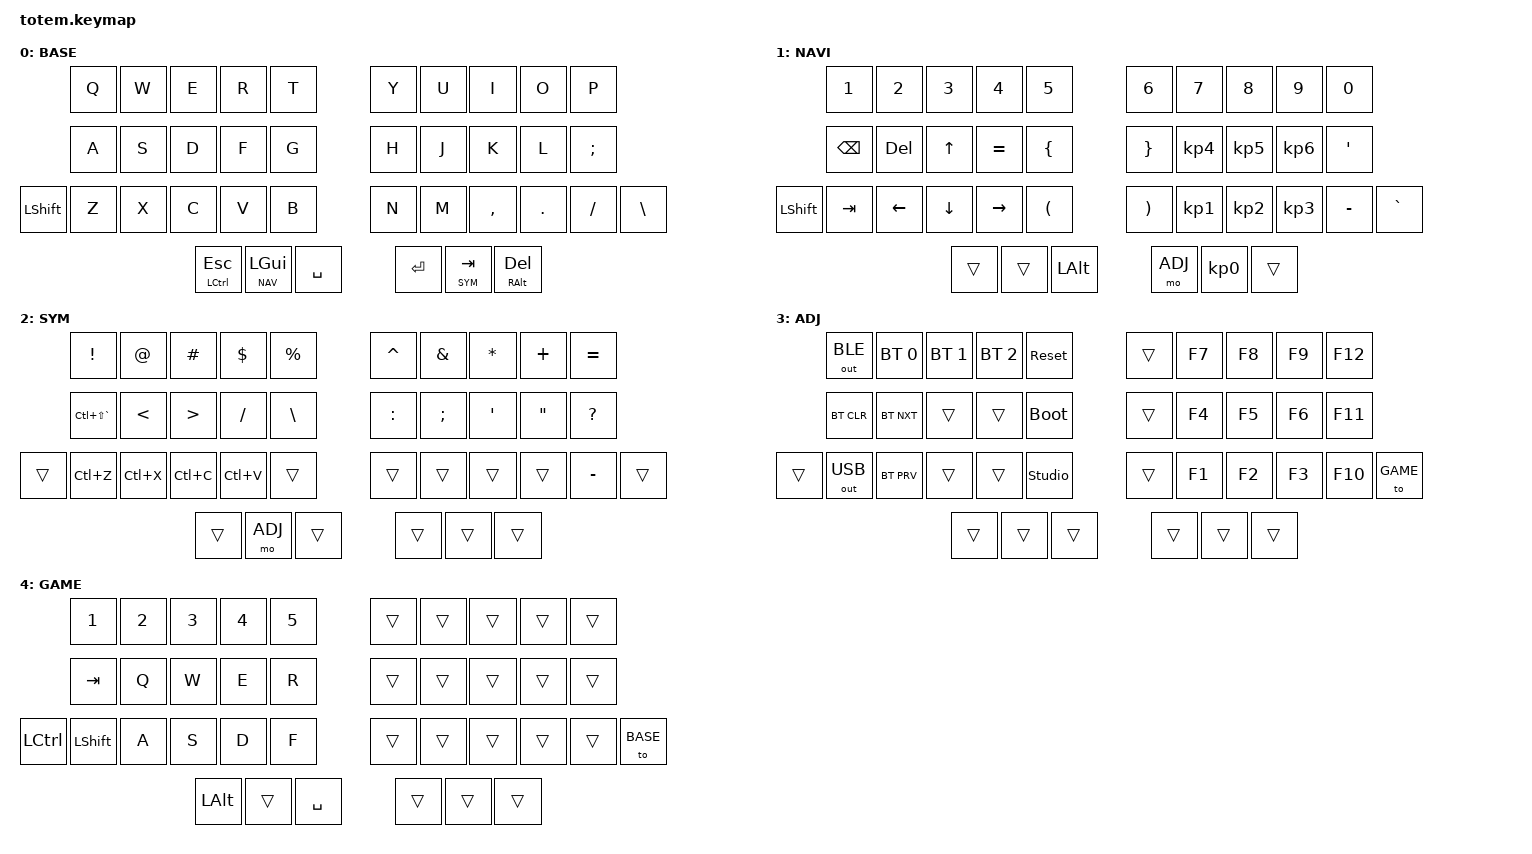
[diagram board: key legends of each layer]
//
//                                                        ▀▀▀▀▀     ▀▀▀▀▀          ▀▀█▀▀
//                                                        ▄▀▀▀▄  ▄  ▄▀▀▀▄  ▄  ▄▀▀▀▄  █  ▄▀▀▀▄
//                                                        █   █  █  █   █  █  █   █  █  █   █
//                                                         ▀▀▀   █   ▀▀▀   █   ▀▀▀   ▀   ▀▀▀
//                                                               █      ▄▄▄█▄▄▄    █   █  
//                                                               ▀      █  █  █     █▄█
//                                                             ▀▀▀▀▀    █  █  █      ▀
//                                                                      ▀  ▀  ▀
//
// ▄▄▄▄▄▄▄▄▄▄▄▄▄▄▄▄▄▄▄▄▄▄▄▄▄▄▄▄▄▄▄▄▄▄▄▄▄▄▄▄▄▄▄▄▄▄▄▄▄▄▄▄▄▄▄▄▄▄▄▄▄▄▄▄▄▄▄▄▄▄▄▄▄▄▄▄▄▄▄▄▄▄▄▄▄▄▄▄▄▄▄▄▄▄▄▄▄▄▄▄▄▄▄▄▄▄▄▄▄▄▄▄▄▄▄▄▄▄▄▄▄▄▄▄▄▄▄▄▄▄▄▄▄▄▄▄▄▄▄▄▄▄▄▄▄▄▄▄▄
       

#include <behaviors.dtsi>
#include <dt-bindings/zmk/keys.h>
#include <dt-bindings/zmk/bt.h>
#include <dt-bindings/zmk/outputs.h>

#define BASE 0
#define NAV  1
#define SYM  2
#define ADJ  3
#define GAME 4

&mt {
  quick-tap-ms = <125>;
  global-quick-tap;
  flavor = "balanced";
  tapping-term-ms = <200>;
};

/ {
     combos {
            compatible = "zmk,combos";

            // Essential escape combos
            combo_esc {
                timeout-ms = <40>;
                key-positions = <0 1>;
                bindings = <&kp ESC>;
            };

            // Programming brackets - easier vertical combos
            combo_lbkt {
                timeout-ms = <40>;
                key-positions = <3 13>;  // R + C
                bindings = <&kp LBKT>;
            };
            combo_rbkt {
                timeout-ms = <40>;
                key-positions = <6 16>;  // U + M
                bindings = <&kp RBKT>;
            };
            combo_lbrc {
                timeout-ms = <40>;
                key-positions = <4 14>;  // T + V
                bindings = <&kp LBRC>;
            };
            combo_rbrc {
                timeout-ms = <40>;
                key-positions = <5 15>;  // Y + N
                bindings = <&kp RBRC>;
            };
            combo_lpar {
                timeout-ms = <40>;
                key-positions = <2 12>;  // E + X
                bindings = <&kp LPAR>;
            };
            combo_rpar {
                timeout-ms = <40>;
                key-positions = <7 17>;  // I + COMMA
                bindings = <&kp RPAR>;
            };

            // Common programming symbols
            combo_grave {
                timeout-ms = <40>;
                key-positions = <0 10>;  // Q + A
                bindings = <&kp GRAVE>;
            };
            combo_tilde {
                timeout-ms = <40>;
                key-positions = <9 19>;  // P + ;
                bindings = <&kp TILDE>;
            };
            combo_pipe {
                timeout-ms = <40>;
                key-positions = <14 15>;  // V + B
                bindings = <&kp PIPE>;
            };
            combo_under {
                timeout-ms = <40>;
                key-positions = <13 14>;  // C + V
                bindings = <&kp UNDER>;
            };

            // Quick tab for coding
            combo_tab {
                timeout-ms = <40>;
                key-positions = <10 11>;  // A + S
                bindings = <&kp TAB>;
            };

            // Navigation combos - useful for system navigation
            combo_printscreen {
                timeout-ms = <40>;
                key-positions = <18 19>;  // L + ; (replacing CAPS)
                bindings = <&kp PSCRN>;
            };
            combo_home {
                timeout-ms = <40>;
                key-positions = <1 2>;  // W + E
                bindings = <&kp HOME>;
            };
            combo_end {
                timeout-ms = <40>;
                key-positions = <7 8>;  // I + O
                bindings = <&kp END>;
            };
            combo_pageup {
                timeout-ms = <40>;
                key-positions = <11 12>;  // S + D
                bindings = <&kp PG_UP>;
            };
            combo_pagedown {
                timeout-ms = <40>;
                key-positions = <17 18>;  // K + L
                bindings = <&kp PG_DN>;
            };
            combo_numlock {
                timeout-ms = <40>;
                key-positions = <22 23>;  // X + C
                bindings = <&kp KP_NLCK>;
            };
    };

    macros {
        gif: gif {
            label = "giphy";
            compatible = "zmk,behavior-macro";
            #binding-cells = <0>;
            bindings
                = <&macro_press &kp LSHFT>
                , <&macro_tap &kp N2>
                , <&macro_release &kp LSHFT>
                , <&macro_tap &kp G &kp I &kp F>
                ;
        };
    };

        keymap {
                compatible = "zmk,keymap";
// ▄▄▄▄▄▄▄▄▄▄▄▄▄▄▄▄▄▄▄▄▄▄▄▄▄▄▄▄▄▄▄▄▄▄▄▄▄▄▄▄▄▄▄▄▄▄▄▄▄▄▄▄▄▄▄▄▄▄▄▄▄▄▄▄▄▄▄▄▄▄▄▄▄▄▄▄▄▄▄▄▄▄▄▄▄▄▄▄▄▄▄▄▄▄▄▄▄▄▄▄▄▄▄▄▄▄▄▄▄▄▄▄▄▄▄▄▄▄▄▄▄▄▄▄▄▄▄▄▄▄▄▄▄▄▄▄▄▄▄▄▄▄▄▄▄▄▄▄▄

                base_layer {
// ┏━━━━━━━━━━━━━━━━━━━━━━━━━━━━━━━━━━━━━━━┓
label= "BASE"                              ;
// ┗━━━━━━━━━━━━━━━━━━━━━━━━━━━━━━━━━━━━━━━┛
// STUDIO CONFIG: No home row mods, all modifiers on thumbs
//             ┏━━━━━━━━━━━┳━━━━━━━━━━━┳━━━━━━━━━━━┳━━━━━━━━━━━┳━━━━━━━━━━━┓   ┏━━━━━━━━━━━┳━━━━━━━━━━━┳━━━━━━━━━━━┳━━━━━━━━━━━┳━━━━━━━━━━━┓
//             ┃     Q     ┃     W     ┃     E     ┃     R     ┃     T     ┃   ┃     Y     ┃     U     ┃     I     ┃     O     ┃     P     ┃
//             ┣━━━━━━━━━━━╋━━━━━━━━━━━╋━━━━━━━━━━━╋━━━━━━━━━━━╋━━━━━━━━━━━┫   ┣━━━━━━━━━━━╋━━━━━━━━━━━╋━━━━━━━━━━━╋━━━━━━━━━━━╋━━━━━━━━━━━┫
//             ┃     A     ┃     S     ┃     D     ┃     F     ┃     G     ┃   ┃     H     ┃     J     ┃     K     ┃     L     ┃     ;     ┃
// ┏━━━━━━━━━━━╋━━━━━━━━━━━╋━━━━━━━━━━━╋━━━━━━━━━━━╋━━━━━━━━━━━╋━━━━━━━━━━━┫   ┣━━━━━━━━━━━╋━━━━━━━━━━━╋━━━━━━━━━━━╋━━━━━━━━━━━╋━━━━━━━━━━━╋━━━━━━━━━━━┓
// ┃   SHIFT   ┃     Z     ┃     X     ┃     C     ┃     V     ┃     B     ┃   ┃     N     ┃     M     ┃     ,     ┃     .     ┃     /     ┃     \     ┃
// ┗━━━━━━━━━━━┻━━━━━━━━━━━┻━━━━━━━━━━━╋━━━━━━━━━━━╋━━━━━━━━━━━╋━━━━━━━━━━━┫   ┣━━━━━━━━━━━╋━━━━━━━━━━━╋━━━━━━━━━━━╋━━━━━━━━━━━┻━━━━━━━━━━━┻━━━━━━━━━━━┛
//                                     ┃  ESC/Ctrl ┃  Win/NAVI ┃    SPC    ┃   ┃   ENTER   ┃  TAB/SYM  ┃  DEL/RAlt ┃
//                                     ┗━━━━━━━━━━━┻━━━━━━━━━━━┻━━━━━━━━━━━┛   ┗━━━━━━━━━━━┻━━━━━━━━━━━┻━━━━━━━━━━━┛
 bindings = <
// ╷           ╷           ╷           ╷           ╷           ╷           ╷   ╷           ╷           ╷           ╷           ╷           ╷           ╷

                &kp Q       &kp W       &kp E       &kp R       &kp T           &kp Y       &kp U       &kp I       &kp O       &kp P
                &kp A       &kp S       &kp D       &kp F       &kp G           &kp H       &kp J       &kp K       &kp L       &kp SEMI
    &kp LSHFT   &kp Z       &kp X       &kp C       &kp V       &kp B           &kp N       &kp M       &kp COMMA   &kp DOT     &kp FSLH    &kp BSLH
                                    &mt LCTRL ESC &lt NAV LGUI &kp SPACE       &kp RET   &lt SYM TAB &mt RALT DEL
                        >;
                };

// ▄▄▄▄▄▄▄▄▄▄▄▄▄▄▄▄▄▄▄▄▄▄▄▄▄▄▄▄▄▄▄▄▄▄▄▄▄▄▄▄▄▄▄▄▄▄▄▄▄▄▄▄▄▄▄▄▄▄▄▄▄▄▄▄▄▄▄▄▄▄▄▄▄▄▄▄▄▄▄▄▄▄▄▄▄▄▄▄▄▄▄▄▄▄▄▄▄▄▄▄▄▄▄▄▄▄▄▄▄▄▄▄▄▄▄▄▄▄▄▄▄▄▄▄▄▄▄▄▄▄▄▄▄▄▄▄▄▄▄▄▄▄▄▄▄▄▄▄▄


                nav_layer {
// ┏━━━━━━━━━━━━━━━━━━━━━━━━━━━━━━━━━━━━━━━┓
label= "NAVI"                              ;
// ┗━━━━━━━━━━━━━━━━━━━━━━━━━━━━━━━━━━━━━━━┛
// STUDIO CONFIG: Numpad emulation + navigation
//             ┏━━━━━━━━━━━┳━━━━━━━━━━━┳━━━━━━━━━━━┳━━━━━━━━━━━┳━━━━━━━━━━━┓   ┏━━━━━━━━━━━┳━━━━━━━━━━━┳━━━━━━━━━━━┳━━━━━━━━━━━┳━━━━━━━━━━━┓
//             ┃     1     ┃     2     ┃     3     ┃     4     ┃     5     ┃   ┃     6     ┃     7     ┃     8     ┃     9     ┃     0     ┃
//             ┣━━━━━━━━━━━╋━━━━━━━━━━━╋━━━━━━━━━━━╋━━━━━━━━━━━╋━━━━━━━━━━━┫   ┣━━━━━━━━━━━╋━━━━━━━━━━━╋━━━━━━━━━━━╋━━━━━━━━━━━╋━━━━━━━━━━━┫
//             ┃   BKSP    ┃    DEL    ┃     UP    ┃     =     ┃     {     ┃   ┃     }     ┃   KP4/←   ┃    KP5    ┃   KP6/→   ┃     '     ┃
// ┏━━━━━━━━━━━╋━━━━━━━━━━━╋━━━━━━━━━━━╋━━━━━━━━━━━╋━━━━━━━━━━━╋━━━━━━━━━━━┫   ┣━━━━━━━━━━━╋━━━━━━━━━━━╋━━━━━━━━━━━╋━━━━━━━━━━━╋━━━━━━━━━━━╋━━━━━━━━━━━┓
// ┃   SHIFT   ┃    TAB    ┃    LEFT   ┃    DOWN   ┃   RIGHT   ┃     (     ┃   ┃     )     ┃  KP1/End  ┃   KP2/↓   ┃  KP3/PgDn ┃     -     ┃     `     ┃
// ┗━━━━━━━━━━━┻━━━━━━━━━━━┻━━━━━━━━━━━╋━━━━━━━━━━━╋━━━━━━━━━━━╋━━━━━━━━━━━┫   ┣━━━━━━━━━━━╋━━━━━━━━━━━╋━━━━━━━━━━━╋━━━━━━━━━━━┻━━━━━━━━━━━┻━━━━━━━━━━━┛
//                                     ┃           ┃           ┃    ALT    ┃   ┃    ADJ    ┃  KP0/Ins  ┃           ┃
//                                     ┗━━━━━━━━━━━┻━━━━━━━━━━━┻━━━━━━━━━━━┛   ┗━━━━━━━━━━━┻━━━━━━━━━━━┻━━━━━━━━━━━┛
 bindings = <
// ╷           ╷           ╷           ╷           ╷           ╷           ╷   ╷           ╷           ╷           ╷           ╷           ╷           ╷

                &kp N1      &kp N2      &kp N3      &kp N4      &kp N5          &kp N6      &kp N7      &kp N8      &kp N9      &kp N0
                &kp BSPC    &kp DEL     &kp UP      &kp EQUAL   &kp LBRC        &kp RBRC    &kp KP_N4   &kp KP_N5   &kp KP_N6   &kp SQT
    &kp LSHFT   &kp TAB     &kp LEFT    &kp DOWN    &kp RIGHT   &kp LPAR        &kp RPAR    &kp KP_N1   &kp KP_N2   &kp KP_N3   &kp MINUS   &kp GRAVE
                                        &trans      &trans      &kp LALT        &mo ADJ     &kp KP_N0   &trans
                        >;
                };

// ▄▄▄▄▄▄▄▄▄▄▄▄▄▄▄▄▄▄▄▄▄▄▄▄▄▄▄▄▄▄▄▄▄▄▄▄▄▄▄▄▄▄▄▄▄▄▄▄▄▄▄▄▄▄▄▄▄▄▄▄▄▄▄▄▄▄▄▄▄▄▄▄▄▄▄▄▄▄▄▄▄▄▄▄▄▄▄▄▄▄▄▄▄▄▄▄▄▄▄▄▄▄▄▄▄▄▄▄▄▄▄▄▄▄▄▄▄▄▄▄▄▄▄▄▄▄▄▄▄▄▄▄▄▄▄▄▄▄▄▄▄▄▄▄▄▄▄▄▄


                sim_layer {
// ┏━━━━━━━━━━━━━━━━━━━━━━━━━━━━━━━━━━━━━━━┓
label= "SYM"                               ;
// ┗━━━━━━━━━━━━━━━━━━━━━━━━━━━━━━━━━━━━━━━┛
// SYMBOLS LAYER - Programming symbols (brackets via combos) + VSCode shortcuts
//             ┏━━━━━━━━━━━┳━━━━━━━━━━━┳━━━━━━━━━━━┳━━━━━━━━━━━┳━━━━━━━━━━━┓   ┏━━━━━━━━━━━┳━━━━━━━━━━━┳━━━━━━━━━━━┳━━━━━━━━━━━┳━━━━━━━━━━━┓
//             ┃     !     ┃     @     ┃     #     ┃     $     ┃     %     ┃   ┃     ^     ┃     &     ┃     *     ┃     +     ┃     =     ┃
//             ┣━━━━━━━━━━━╋━━━━━━━━━━━╋━━━━━━━━━━━╋━━━━━━━━━━━╋━━━━━━━━━━━┫   ┣━━━━━━━━━━━╋━━━━━━━━━━━╋━━━━━━━━━━━╋━━━━━━━━━━━╋━━━━━━━━━━━┫
//             ┃   Ctrl+~  ┃     <     ┃     >     ┃     /     ┃     \     ┃   ┃     :     ┃     ;     ┃     '     ┃     "     ┃     ?     ┃
// ┏━━━━━━━━━━━╋━━━━━━━━━━━╋━━━━━━━━━━━╋━━━━━━━━━━━╋━━━━━━━━━━━╋━━━━━━━━━━━┫   ┣━━━━━━━━━━━╋━━━━━━━━━━━╋━━━━━━━━━━━╋━━━━━━━━━━━╋━━━━━━━━━━━╋━━━━━━━━━━━┓
// ┃   trans   ┃   Ctrl+Z  ┃   Ctrl+X  ┃   Ctrl+C  ┃   Ctrl+V  ┃   trans   ┃   ┃   trans   ┃   trans   ┃   trans   ┃   trans   ┃     -     ┃   trans   ┃
// ┗━━━━━━━━━━━┻━━━━━━━━━━━┻━━━━━━━━━━━╋━━━━━━━━━━━╋━━━━━━━━━━━╋━━━━━━━━━━━┫   ┣━━━━━━━━━━━╋━━━━━━━━━━━╋━━━━━━━━━━━╋━━━━━━━━━━━┻━━━━━━━━━━━┻━━━━━━━━━━━┛
//                                     ┃   trans   ┃    ADJ    ┃   trans   ┃   ┃   trans   ┃   trans   ┃   trans   ┃
//                                     ┗━━━━━━━━━━━┻━━━━━━━━━━━┻━━━━━━━━━━━┛   ┗━━━━━━━━━━━┻━━━━━━━━━━━┻━━━━━━━━━━━┛
 bindings = <
// ╷           ╷           ╷           ╷           ╷           ╷           ╷   ╷           ╷           ╷           ╷           ╷           ╷           ╷

                &kp EXCL    &kp AT      &kp HASH    &kp DLLR    &kp PRCNT       &kp CARET   &kp AMPS    &kp STAR    &kp PLUS    &kp EQUAL
                &kp LC(LS(GRAVE)) &kp LT &kp GT     &kp FSLH    &kp BSLH        &kp COLON   &kp SEMI    &kp SQT     &kp DQT     &kp QMARK
    &trans      &kp LC(Z)   &kp LC(X)   &kp LC(C)   &kp LC(V)   &trans          &trans      &trans      &trans      &trans      &kp MINUS   &trans
                                        &trans      &mo ADJ     &trans          &trans      &trans      &trans
                        >;
                };

// ▄▄▄▄▄▄▄▄▄▄▄▄▄▄▄▄▄▄▄▄▄▄▄▄▄▄▄▄▄▄▄▄▄▄▄▄▄▄▄▄▄▄▄▄▄▄▄▄▄▄▄▄▄▄▄▄▄▄▄▄▄▄▄▄▄▄▄▄▄▄▄▄▄▄▄▄▄▄▄▄▄▄▄▄▄▄▄▄▄▄▄▄▄▄▄▄▄▄▄▄▄▄▄▄▄▄▄▄▄▄▄▄▄▄▄▄▄▄▄▄▄▄▄▄▄▄▄▄▄▄▄▄▄▄▄▄▄▄▄▄▄▄▄▄▄▄▄▄▄


                adjust_layer {
// ┏━━━━━━━━━━━━━━━━━━━━━━━━━━━━━━━━━━━━━━━┓
label= "ADJ"                               ;
// ┗━━━━━━━━━━━━━━━━━━━━━━━━━━━━━━━━━━━━━━━┛
// ADJUST LAYER - Bluetooth, Output, System controls (left) + Function keys + GAME toggle (right)
//             ┏━━━━━━━━━━━┳━━━━━━━━━━━┳━━━━━━━━━━━┳━━━━━━━━━━━┳━━━━━━━━━━━┓   ┏━━━━━━━━━━━┳━━━━━━━━━━━┳━━━━━━━━━━━┳━━━━━━━━━━━┳━━━━━━━━━━━┓
//             ┃  OUT BLE  ┃  BT PR 0  ┃  BT PR 1  ┃  BT PR 2  ┃   RESET   ┃   ┃   trans   ┃    F7     ┃    F8     ┃    F9     ┃    F12    ┃
//             ┣━━━━━━━━━━━╋━━━━━━━━━━━╋━━━━━━━━━━━╋━━━━━━━━━━━╋━━━━━━━━━━━┫   ┣━━━━━━━━━━━╋━━━━━━━━━━━╋━━━━━━━━━━━╋━━━━━━━━━━━╋━━━━━━━━━━━┫
//             ┃  BT CLR   ┃  BT NEXT  ┃   trans   ┃   trans   ┃ BOOTLOAD  ┃   ┃   trans   ┃    F4     ┃    F5     ┃    F6     ┃    F11    ┃
// ┏━━━━━━━━━━━╋━━━━━━━━━━━╋━━━━━━━━━━━╋━━━━━━━━━━━╋━━━━━━━━━━━╋━━━━━━━━━━━┫   ┣━━━━━━━━━━━╋━━━━━━━━━━━╋━━━━━━━━━━━╋━━━━━━━━━━━╋━━━━━━━━━━━╋━━━━━━━━━━━┓
// ┃   trans   ┃  OUT USB  ┃  BT PREV  ┃   trans   ┃   trans   ┃ STD UNLCK ┃   ┃   trans   ┃    F1     ┃    F2     ┃    F3     ┃    F10    ┃ TO GAME   ┃
// ┗━━━━━━━━━━━┻━━━━━━━━━━━┻━━━━━━━━━━━╋━━━━━━━━━━━╋━━━━━━━━━━━╋━━━━━━━━━━━┫   ┣━━━━━━━━━━━╋━━━━━━━━━━━╋━━━━━━━━━━━╋━━━━━━━━━━━┻━━━━━━━━━━━┻━━━━━━━━━━━┛
//                                     ┃   trans   ┃   trans   ┃   trans   ┃   ┃   trans   ┃   trans   ┃   trans   ┃
//                                     ┗━━━━━━━━━━━┻━━━━━━━━━━━┻━━━━━━━━━━━┛   ┗━━━━━━━━━━━┻━━━━━━━━━━━┻━━━━━━━━━━━┛
 bindings = <
// ╷           ╷           ╷           ╷           ╷           ╷           ╷   ╷           ╷           ╷           ╷           ╷           ╷           ╷

                &out OUT_BLE &bt BT_SEL 0 &bt BT_SEL 1 &bt BT_SEL 2 &sys_reset  &trans      &kp F7      &kp F8      &kp F9      &kp F12
                &bt BT_CLR  &bt BT_NXT  &trans       &trans      &bootloader     &trans      &kp F4      &kp F5      &kp F6      &kp F11
    &trans      &out OUT_USB &bt BT_PRV &trans       &trans      &studio_unlock  &trans      &kp F1      &kp F2      &kp F3      &kp F10     &to GAME
                                        &trans       &trans      &trans          &trans      &trans      &trans
                        >;
                };

// ▄▄▄▄▄▄▄▄▄▄▄▄▄▄▄▄▄▄▄▄▄▄▄▄▄▄▄▄▄▄▄▄▄▄▄▄▄▄▄▄▄▄▄▄▄▄▄▄▄▄▄▄▄▄▄▄▄▄▄▄▄▄▄▄▄▄▄▄▄▄▄▄▄▄▄▄▄▄▄▄▄▄▄▄▄▄▄▄▄▄▄▄▄▄▄▄▄▄▄▄▄▄▄▄▄▄▄▄▄▄▄▄▄▄▄▄▄▄▄▄▄▄▄▄▄▄▄▄▄▄▄▄▄▄▄▄▄▄▄▄▄▄▄▄▄▄▄▄▄


                game_layer {
// ┏━━━━━━━━━━━━━━━━━━━━━━━━━━━━━━━━━━━━━━━┓
label= "GAME"                              ;
// ┗━━━━━━━━━━━━━━━━━━━━━━━━━━━━━━━━━━━━━━━┛
// GAMING LAYER - Left side only, NO COMBOS for MMORPG/FPS (toggle via ADJ layer bottom right)
//             ┏━━━━━━━━━━━┳━━━━━━━━━━━┳━━━━━━━━━━━┳━━━━━━━━━━━┳━━━━━━━━━━━┓   ┏━━━━━━━━━━━┳━━━━━━━━━━━┳━━━━━━━━━━━┳━━━━━━━━━━━┳━━━━━━━━━━━┓
//             ┃     1     ┃     2     ┃     3     ┃     4     ┃     5     ┃   ┃   trans   ┃   trans   ┃   trans   ┃   trans   ┃   trans   ┃
//             ┣━━━━━━━━━━━╋━━━━━━━━━━━╋━━━━━━━━━━━╋━━━━━━━━━━━╋━━━━━━━━━━━┫   ┣━━━━━━━━━━━╋━━━━━━━━━━━╋━━━━━━━━━━━╋━━━━━━━━━━━╋━━━━━━━━━━━┫
//             ┃    TAB    ┃     Q     ┃     W     ┃     E     ┃     R     ┃   ┃   trans   ┃   trans   ┃   trans   ┃   trans   ┃   trans   ┃
// ┏━━━━━━━━━━━╋━━━━━━━━━━━╋━━━━━━━━━━━╋━━━━━━━━━━━╋━━━━━━━━━━━╋━━━━━━━━━━━┫   ┣━━━━━━━━━━━╋━━━━━━━━━━━╋━━━━━━━━━━━╋━━━━━━━━━━━╋━━━━━━━━━━━╋━━━━━━━━━━━┓
// ┃   CTRL    ┃   SHIFT   ┃     A     ┃     S     ┃     D     ┃     F     ┃   ┃   trans   ┃   trans   ┃   trans   ┃   trans   ┃   trans   ┃ EXIT GAME ┃
// ┗━━━━━━━━━━━┻━━━━━━━━━━━┻━━━━━━━━━━━╋━━━━━━━━━━━╋━━━━━━━━━━━╋━━━━━━━━━━━┫   ┣━━━━━━━━━━━╋━━━━━━━━━━━╋━━━━━━━━━━━╋━━━━━━━━━━━┻━━━━━━━━━━━┻━━━━━━━━━━━┛
//                                     ┃    ALT    ┃   trans   ┃   SPACE   ┃   ┃   trans   ┃   trans   ┃   trans   ┃
//                                     ┗━━━━━━━━━━━┻━━━━━━━━━━━┻━━━━━━━━━━━┛   ┗━━━━━━━━━━━┻━━━━━━━━━━━┻━━━━━━━━━━━┛
 bindings = <
// ╷           ╷           ╷           ╷           ╷           ╷           ╷   ╷           ╷           ╷           ╷           ╷           ╷           ╷

                &kp N1      &kp N2      &kp N3      &kp N4      &kp N5          &trans      &trans      &trans      &trans      &trans
                &kp TAB     &kp Q       &kp W       &kp E       &kp R           &trans      &trans      &trans      &trans      &trans
    &kp LCTRL   &kp LSHFT   &kp A       &kp S       &kp D       &kp F           &trans      &trans      &trans      &trans      &trans      &to BASE
                                        &kp LALT    &trans      &kp SPACE       &trans      &trans      &trans
                        >;
                };

        };
};
